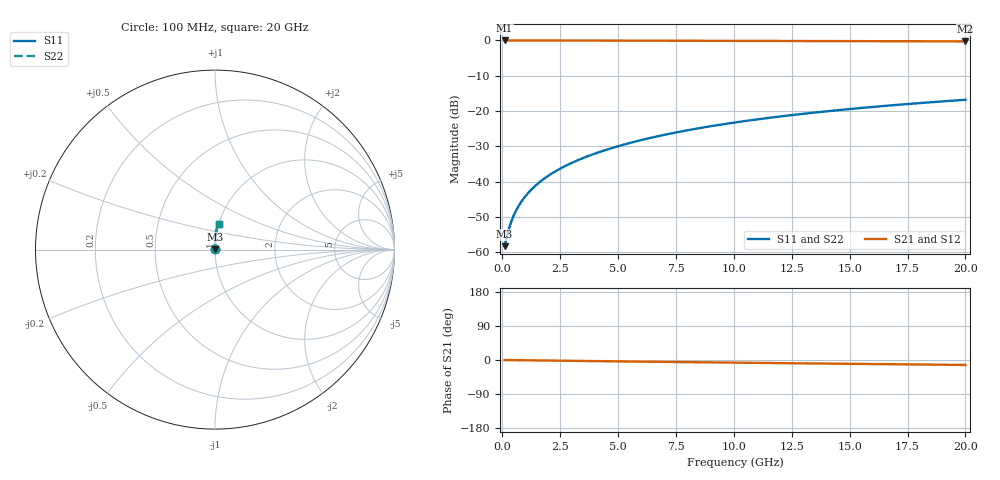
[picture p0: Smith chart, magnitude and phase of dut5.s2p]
! Touchstone file exported from HFSS 2024.1.0
!  File:  C:/UserFiles/LocalFiles/RDL_TSV_Batchsim/temp_RDL_bottom_5_1778690994.aedt
!  Generated:  12:52:40 AM May 14, 2026
!  Design:  RDL_bottom
!  Project:  temp_RDL_bottom_5_1778690994
!  Setup:  Setup1
!  Solution:  Sweep
! Variables:
!  dtsv = 10.80580581um
!  hbump = 3um
!  htsv = 78.63um
!  ldown = 151.68um
!  lrdl = 100um
!  p = 40
!  p1 = 51.49um
!  rhole = 1um
!  t = 450um
!  tdown = 2.92um
!  trdl = 3.915915916um
!  wdown = 25.53um
!  wrdl = 20um
# GHz S MA R 50.000000
! Terminal data exported
! Port[1] = RDL1_T1
! Port[2] = RDL1_T2
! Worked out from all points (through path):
!   200 points, 100 MHz to 20 GHz, reference 50 ohm
!   highest |S21| = -0.01 dB at 100 MHz (marker M1); lowest = -0.3 dB at 20 GHz (marker M2)
!   group delay of S21, straight-line fit = 1.8 ps
!   lowest |S11| = -58.3 dB at 100 MHz (marker M3), VSWR 1.00, Z = 50.1 + j0.0668 ohm
!   |S11| at or under -10 dB: start of sweep to end of sweep
!   |S22| runs from -58.3 to -16.8 dB; largest |S21 - S12| = 4e-15
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0.1  0.001219 33.2  0.999 -0.1  0.999 -0.1  0.001219 33.2
! Gamma 0 0 0 0
! Port Impedance 50 0 50 0
0.2  0.001688 51.2  0.9989 -0.2  0.9989 -0.2  0.001688 51.2
0.3  0.002232 60.5  0.9989 -0.2  0.9989 -0.2  0.002232 60.5
0.4  0.002792 66.0  0.9988 -0.3  0.9988 -0.3  0.002792 66.0
0.5  0.003356 69.8  0.9987 -0.4  0.9987 -0.4  0.003356 69.8
0.6  0.003923 72.5  0.9987 -0.5  0.9987 -0.5  0.003923 72.5
0.8  0.005066 76.5  0.9986 -0.6  0.9986 -0.6  0.005066 76.5
1.1  0.006807 80.2  0.9984 -0.8  0.9984 -0.8  0.006807 80.2
1.3  0.007984 81.9  0.9983 -1.0  0.9983 -1.0  0.007984 81.9
1.6  0.009773 83.9  0.9981 -1.2  0.9981 -1.2  0.009773 83.9
2.1  0.01281 86.0  0.9977 -1.6  0.9977 -1.6  0.01281 86.0
2.7  0.01654 87.8  0.997 -2.0  0.997 -2.0  0.01654 87.8
3.5  0.02167 89.2  0.996 -2.6  0.996 -2.6  0.02167 89.2
4.2  0.0263 90.0  0.995 -3.1  0.995 -3.1  0.0263 90.0
5  0.03176 90.6  0.9937 -3.7  0.9937 -3.7  0.03176 90.6
5.9  0.03808 90.8  0.9921 -4.3  0.9921 -4.3  0.03808 90.8
6.8  0.04457 90.8  0.9906 -4.9  0.9906 -4.9  0.04457 90.8
8.4  0.05641 90.3  0.9877 -5.9  0.9877 -5.9  0.05642 90.3
10.1  0.06927 89.4  0.9847 -7.0  0.9847 -7.0  0.06927 89.4
13.4  0.0945 87.1  0.9792 -9.1  0.9792 -9.1  0.09451 87.1
16.7  0.1196 84.6  0.974 -11.1  0.974 -11.1  0.1196 84.6
20  0.1444 82.1  0.9688 -13.1  0.9688 -13.1  0.1444 82.1
